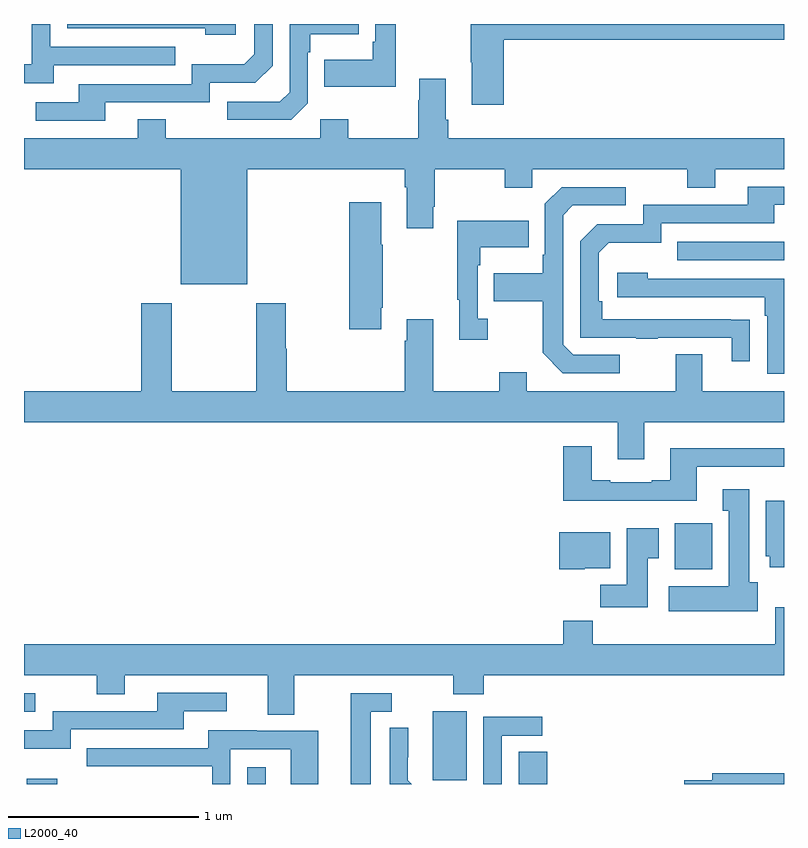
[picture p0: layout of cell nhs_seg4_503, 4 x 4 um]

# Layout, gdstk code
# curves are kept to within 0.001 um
import gdstk
lib = gdstk.Library(unit=1e-6, precision=1e-09)
def R(c, l, rs):  # rectangles x0, y0, x1, y1
    for r in rs: c.add(gdstk.rectangle(r[:2], r[2:], *l))
def P(c, l, *ps):  # polygons
    for p in ps: c.add(gdstk.Polygon(p, *l))
L2000_40 = (2000, 40)

nhs_seg4_503 = lib.new_cell('nhs_seg4_503')
R(nhs_seg4_503, L2000_40, [(135.015,810.9,135.176,810.928), (136.176,810.9,136.273,810.988), (137.603,810.9,137.753,811.07), (137.15,810.921,137.329,811.282), (135,811.281,135.058,811.377), (138.425,812.03,138.622,812.272), (138.439,813.657,139,813.753)])
P(nhs_seg4_503, L2000_40, [(135.427,814.488),(135.978,814.488),(135.978,814.59),(136.218,814.59),(136.308,814.68),(136.308,814.9),(136.212,814.9),(136.212,814.74),(136.159,814.687),(135.882,814.687),(135.882,814.584),(135.287,814.584),(135.287,814.488),(135.063,814.488),(135.063,814.392),(135.427,814.392)],
  [(135.157,814.683),(135.797,814.683),(135.797,814.779),(135.138,814.779),(135.138,814.9),(135.042,814.9),(135.042,814.689),(135,814.689),(135,814.589),(135.157,814.589)],
  [(136.494,814.482),(136.494,814.751),(136.507,814.751),(136.507,814.847),(136.763,814.847),(136.763,814.9),(136.398,814.9),(136.398,814.542),(136.347,814.491),(136.071,814.491),(136.071,814.395),(136.407,814.395)],
  [(136.957,814.9),(136.848,814.9),(136.848,814.807),(136.836,814.807),(136.836,814.711),(136.579,814.711),(136.579,814.571),(136.957,814.571)],
  [(136.114,814.9),(135.228,814.9),(135.228,814.878),(135.953,814.878),(135.953,814.844),(136.114,814.844)],
  [(137.525,814.816),(139,814.816),(139,814.9),(137.35,814.9),(137.35,814.699),(137.357,814.699),(137.357,814.476),(137.525,814.476)],
  [(136.174,814.136),(137.003,814.136),(137.003,814.04),(137.015,814.04),(137.015,813.825),(137.155,813.825),(137.155,813.937),(137.163,813.937),(137.163,814.136),(137.53,814.136),(137.53,814.037),(137.676,814.037),(137.676,814.136),(138.49,814.136),(138.49,814.037),(138.637,814.037),(138.637,814.136),(139,814.136),(139,814.3),(137.234,814.3),(137.234,814.396),(137.221,814.396),(137.221,814.612),(137.081,814.612),(137.081,814.499),(137.074,814.499),(137.074,814.3),(136.707,814.3),(136.707,814.399),(136.56,814.399),(136.56,814.3),(135.747,814.3),(135.747,814.399),(135.599,814.399),(135.599,814.3),(135,814.3),(135,814.136),(135.824,814.136),(135.824,813.53),(136.174,813.53)],
  [(138.821,813.344),(138.044,813.345),(138.044,813.442),(138.024,813.442),(138.024,813.696),(138.077,813.749),(138.354,813.749),(138.354,813.852),(138.949,813.852),(138.949,813.948),(139,813.948),(139,814.044),(138.809,814.044),(138.809,813.948),(138.258,813.948),(138.258,813.846),(138.018,813.846),(137.928,813.756),(137.928,813.249),(138.223,813.249),(138.223,813.244),(138.335,813.244),(138.335,813.249),(138.725,813.249),(138.725,813.126),(138.821,813.126)],
  [(138.136,813.159),(137.892,813.159),(137.838,813.213),(137.838,813.894),(137.889,813.945),(138.166,813.945),(138.166,814.041),(137.829,814.041),(137.742,813.954),(137.742,813.685),(137.73,813.685),(137.73,813.589),(137.473,813.589),(137.473,813.442),(137.73,813.442),(137.73,813.169),(137.835,813.063),(138.136,813.063)],
  [(136.879,813.406),(136.887,813.406),(136.887,813.737),(136.879,813.737),(136.879,813.961),(136.712,813.961),(136.712,813.294),(136.879,813.294)],
  [(137.44,813.35),(137.388,813.35),(137.388,813.629),(137.401,813.629),(137.401,813.725),(137.657,813.725),(137.657,813.865),(137.28,813.865),(137.28,813.449),(137.291,813.449),(137.291,813.237),(137.44,813.237)],
  [(139,813.558),(138.284,813.558),(138.284,813.592),(138.123,813.592),(138.123,813.462),(138.899,813.462),(138.899,813.365),(138.912,813.365),(138.912,813.06),(139,813.06)],
  [(138.265,812.804),(139,812.804),(139,812.968),(138.571,812.968),(138.571,813.163),(138.431,813.163),(138.431,812.968),(137.647,812.968),(137.647,813.067),(137.5,813.067),(137.5,812.968),(137.155,812.968),(137.155,813.346),(137.015,813.346),(137.015,813.233),(137.003,813.233),(137.003,812.968),(136.382,812.968),(136.382,813.191),(136.377,813.191),(136.377,813.43),(136.222,813.43),(136.222,812.968),(135.777,812.968),(135.777,813.43),(135.617,813.43),(135.617,812.968),(135,812.968),(135,812.804),(138.125,812.804),(138.125,812.61),(138.265,812.61)],
  [(138.541,812.571),(139,812.571),(139,812.668),(138.401,812.668),(138.401,812.5),(138.305,812.5),(138.305,812.487),(138.085,812.487),(138.085,812.5),(137.989,812.5),(137.989,812.677),(137.837,812.677),(137.837,812.39),(138.541,812.39)],
  [(138.862,811.962),(138.817,811.962),(138.817,812.452),(138.677,812.452),(138.677,812.339),(138.71,812.339),(138.71,811.942),(138.393,811.942),(138.393,811.808),(138.862,811.808)],
  [(139,812.392),(138.905,812.392),(138.905,812.1),(138.926,812.1),(138.926,812.04),(139,812.04)],
  [(138.283,812.089),(138.34,812.089),(138.34,812.245),(138.173,812.245),(138.173,811.948),(138.034,811.948),(138.034,811.83),(138.283,811.83)],
  [(137.952,812.036),(138.085,812.036),(138.085,812.224),(137.816,812.224),(137.816,812.03),(137.952,812.03)],
  [(136.423,811.472),(137.26,811.472),(137.26,811.373),(137.42,811.373),(137.42,811.472),(139,811.472),(139,811.831),(138.953,811.831),(138.953,811.636),(137.993,811.636),(137.993,811.76),(137.837,811.76),(137.837,811.636),(135,811.636),(135,811.472),(135.382,811.472),(135.382,811.373),(135.529,811.373),(135.529,811.472),(136.283,811.472),(136.283,811.264),(136.423,811.264)],
  [(135.246,811.188),(135.841,811.188),(135.841,811.284),(136.066,811.284),(136.066,811.38),(135.701,811.38),(135.701,811.284),(135.15,811.284),(135.15,811.182),(135,811.182),(135,811.085),(135.246,811.085)],
  [(136.825,811.281),(136.936,811.281),(136.936,811.377),(136.721,811.377),(136.721,810.9),(136.825,810.9)],
  [(137.514,811.155),(137.728,811.155),(137.728,811.254),(137.418,811.254),(137.418,810.9),(137.514,810.9)],
  [(137.021,810.92),(137.021,811.042),(137.022,811.042),(137.022,811.196),(136.926,811.196),(136.926,810.9),(137.041,810.9)],
  [(136.086,811.083),(136.404,811.083),(136.404,810.9),(136.549,810.9),(136.549,811.179),(136.225,811.179),(136.225,811.183),(135.971,811.183),(135.971,811.089),(135.331,811.089),(135.331,810.993),(135.99,810.993),(135.99,810.9),(136.086,810.9)],
  [(139,810.956),(138.623,810.956),(138.623,810.92),(138.474,810.92),(138.474,810.9),(139,810.9)])

lib.write_gds('nhs_seg4_503.gds')
